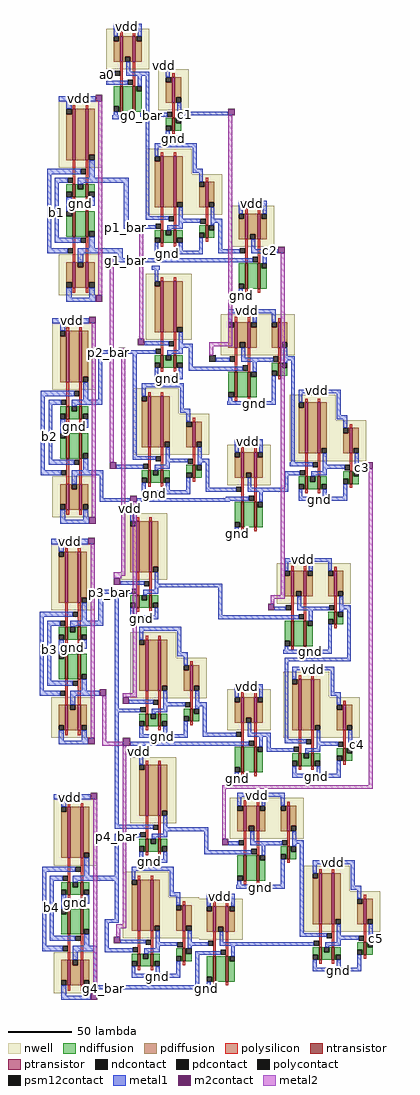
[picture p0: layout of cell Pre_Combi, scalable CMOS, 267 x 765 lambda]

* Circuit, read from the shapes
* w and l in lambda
.subckt Pre_Combi a0 a1 a2 a3 a4 b0 b1 b2 b3 b4 c1 c2 c3 c4 c5 g0_bar g1_bar g2_bar g3_bar g4_bar gnd p1_bar p2_bar p3_bar p4_bar vdd
M1 n1 a3 gnd c1 nfet w=20 l=2
M2 p3_bar b3 gnd c1 nfet w=10 l=2
M3 n2 a2 gnd c1 nfet w=20 l=2
M4 p2_bar b2 gnd c1 nfet w=10 l=2
M5 n3 a4 gnd c1 nfet w=20 l=2
M6 p4_bar b4 gnd c1 nfet w=10 l=2
M7 n4 a1 gnd c1 nfet w=20 l=2
M8 p1_bar b1 gnd c1 nfet w=10 l=2
M9 g3_bar b3 n1 c1 nfet w=20 l=2
M10 gnd a3 p3_bar c1 nfet w=10 l=2
M11 g2_bar b2 n2 c1 nfet w=20 l=2
M12 gnd a2 p2_bar c1 nfet w=10 l=2
M13 g4_bar b4 n3 c1 nfet w=20 l=2
M14 gnd a4 p4_bar c1 nfet w=10 l=2
M15 g1_bar b1 n4 c1 nfet w=20 l=2
M16 gnd a1 p1_bar c1 nfet w=10 l=2
M17 n5 a0 gnd c1 nfet w=20 l=2
M18 g0_bar b0 n5 c1 nfet w=20 l=2
M19 n6 p3_bar gnd c1 nfet w=10 l=2
M20 n7 p4_bar gnd c1 nfet w=10 l=2
M21 n8 p4_bar gnd c1 nfet w=10 l=2
M22 n9 p3_bar gnd c1 nfet w=10 l=2
M23 n10 g1_bar gnd c1 nfet w=10 l=2
M24 gnd p2_bar n6 c1 nfet w=10 l=2
M25 gnd g3_bar n7 c1 nfet w=10 l=2
M26 gnd p3_bar n8 c1 nfet w=10 l=2
M27 gnd g2_bar n9 c1 nfet w=10 l=2
M28 gnd p2_bar n10 c1 nfet w=10 l=2
M29 n11 p2_bar gnd c1 nfet w=10 l=2
M30 n12 p1_bar gnd c1 nfet w=10 l=2
M31 c1 g0_bar gnd c1 nfet w=10 l=2
M32 gnd p1_bar n11 c1 nfet w=10 l=2
M33 gnd g0_bar n12 c1 nfet w=10 l=2
M34 n13 n7 gnd c1 nfet w=10 l=2
M35 n14 n9 gnd c1 nfet w=10 l=2
M36 n15 n10 gnd c1 nfet w=10 l=2
M37 n16 n12 gnd c1 nfet w=10 l=2
M38 n17 n13 gnd c1 nfet w=20 l=2
M39 n18 g4_bar n17 c1 nfet w=20 l=2
M40 n19 c1 gnd c1 nfet w=20 l=2
M41 n20 n14 gnd c1 nfet w=20 l=2
M42 n21 n15 gnd c1 nfet w=20 l=2
M43 n22 c3 gnd c1 nfet w=20 l=2
M44 n23 n16 gnd c1 nfet w=20 l=2
M45 n24 n11 n19 c1 nfet w=20 l=2
M46 n25 g3_bar n20 c1 nfet w=20 l=2
M47 n26 g2_bar n21 c1 nfet w=20 l=2
M48 n27 n8 n22 c1 nfet w=20 l=2
M49 c2 g1_bar n23 c1 nfet w=20 l=2
M50 n28 n24 gnd c1 nfet w=10 l=2
M51 n29 n27 gnd c1 nfet w=10 l=2
M52 n30 c2 gnd c1 nfet w=20 l=2
M53 n31 n25 gnd c1 nfet w=10 l=2
M54 n32 n6 n30 c1 nfet w=20 l=2
M55 n33 n26 gnd c1 nfet w=10 l=2
M56 gnd n34 n31 c1 nfet w=10 l=2
M57 gnd n28 n33 c1 nfet w=10 l=2
M58 n35 n18 gnd c1 nfet w=10 l=2
M59 gnd n29 n35 c1 nfet w=10 l=2
M60 n34 n32 gnd c1 nfet w=10 l=2
M61 c4 n31 gnd c1 nfet w=10 l=2
M62 c3 n33 gnd c1 nfet w=10 l=2
M63 c5 n35 gnd c1 nfet w=10 l=2
M64 g3_bar a3 vdd n36 pfet w=20 l=2
M65 n37 b3 vdd n38 pfet w=40 l=2
M66 g2_bar a2 vdd n39 pfet w=20 l=2
M67 n40 b2 vdd n41 pfet w=40 l=2
M68 g4_bar a4 vdd n42 pfet w=20 l=2
M69 n43 b4 vdd n44 pfet w=40 l=2
M70 g1_bar a1 vdd n45 pfet w=20 l=2
M71 n46 b1 vdd n47 pfet w=40 l=2
M72 vdd b3 g3_bar n36 pfet w=20 l=2
M73 p3_bar a3 n37 n38 pfet w=40 l=2
M74 vdd b2 g2_bar n39 pfet w=20 l=2
M75 p2_bar a2 n40 n41 pfet w=40 l=2
M76 vdd b4 g4_bar n42 pfet w=20 l=2
M77 p4_bar a4 n43 n44 pfet w=40 l=2
M78 vdd b1 g1_bar n45 pfet w=20 l=2
M79 p1_bar a1 n46 n47 pfet w=40 l=2
M80 g0_bar a0 vdd n48 pfet w=20 l=2
M81 vdd b0 g0_bar n48 pfet w=20 l=2
M82 n49 p3_bar vdd n50 pfet w=40 l=2
M83 n51 p4_bar vdd n52 pfet w=40 l=2
M84 n53 p4_bar vdd n54 pfet w=40 l=2
M85 n55 p3_bar vdd n56 pfet w=40 l=2
M86 n57 g1_bar vdd n58 pfet w=40 l=2
M87 n6 p2_bar n49 n50 pfet w=40 l=2
M88 n7 g3_bar n51 n52 pfet w=40 l=2
M89 n8 p3_bar n53 n54 pfet w=40 l=2
M90 n9 g2_bar n55 n56 pfet w=40 l=2
M91 n10 p2_bar n57 n58 pfet w=40 l=2
M92 n59 p2_bar vdd n60 pfet w=40 l=2
M93 n61 p1_bar vdd n62 pfet w=40 l=2
M94 c1 g0_bar vdd n63 pfet w=20 l=2
M95 n11 p1_bar n59 n60 pfet w=40 l=2
M96 n12 g0_bar n61 n62 pfet w=40 l=2
M97 n13 n7 vdd n52 pfet w=20 l=2
M98 n14 n9 vdd n56 pfet w=20 l=2
M99 n15 n10 vdd n58 pfet w=20 l=2
M100 n16 n12 vdd n62 pfet w=20 l=2
M101 n18 n13 vdd n52 pfet w=20 l=2
M102 vdd g4_bar n18 n52 pfet w=20 l=2
M103 n24 c1 vdd n64 pfet w=20 l=2
M104 n25 n14 vdd n65 pfet w=20 l=2
M105 n26 n15 vdd n66 pfet w=20 l=2
M106 n27 c3 vdd n67 pfet w=20 l=2
M107 c2 n16 vdd n68 pfet w=20 l=2
M108 vdd n11 n24 n64 pfet w=20 l=2
M109 vdd g3_bar n25 n65 pfet w=20 l=2
M110 vdd g2_bar n26 n66 pfet w=20 l=2
M111 vdd n8 n27 n67 pfet w=20 l=2
M112 vdd g1_bar c2 n68 pfet w=20 l=2
M113 n28 n24 vdd n64 pfet w=20 l=2
M114 n29 n27 vdd n67 pfet w=20 l=2
M115 n32 c2 vdd n69 pfet w=20 l=2
M116 n70 n25 vdd n71 pfet w=40 l=2
M117 vdd n6 n32 n69 pfet w=20 l=2
M118 n72 n26 vdd n73 pfet w=40 l=2
M119 n31 n34 n70 n71 pfet w=40 l=2
M120 n33 n28 n72 n73 pfet w=40 l=2
M121 n74 n18 vdd n75 pfet w=40 l=2
M122 n35 n29 n74 n75 pfet w=40 l=2
M123 n34 n32 vdd n69 pfet w=20 l=2
M124 c4 n31 vdd n71 pfet w=20 l=2
M125 c3 n33 vdd n73 pfet w=20 l=2
M126 c5 n35 vdd n75 pfet w=20 l=2
.ends

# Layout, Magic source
magic
tech scmos
<< nwell >>
rect 14 721 48 753
rect -23 644 11 696
rect 55 689 79 721
rect 45 639 81 659
rect 45 607 105 639
rect 112 582 146 614
rect -23 544 11 576
rect -28 470 6 522
rect 45 509 81 561
rect 104 497 162 529
rect 35 451 71 471
rect 35 419 95 451
rect 158 446 194 466
rect -28 370 6 402
rect 109 395 143 427
rect 158 414 218 446
rect -29 297 5 349
rect 26 321 62 373
rect 148 302 206 334
rect 33 260 69 280
rect -29 197 5 229
rect 33 228 93 260
rect 109 203 143 235
rect 153 229 189 249
rect 153 197 213 229
rect -27 97 7 149
rect 33 130 69 182
rect 111 118 169 150
rect 27 72 63 92
rect 169 77 205 97
rect 27 71 87 72
rect 27 40 121 71
rect 169 45 229 77
rect 87 39 121 40
rect -27 -3 7 29
<< ntransistor >>
rect 25 688 27 708
rect 35 688 37 708
rect 66 673 68 683
rect -12 621 -10 631
rect -2 621 0 631
rect -12 590 -10 610
rect -2 590 0 610
rect 57 585 59 595
rect 67 585 69 595
rect 92 589 94 599
rect 123 549 125 569
rect 133 549 135 569
rect 57 487 59 497
rect 67 487 69 497
rect -17 447 -15 457
rect -7 447 -5 457
rect -17 416 -15 436
rect -7 416 -5 436
rect 115 464 117 484
rect 125 464 127 484
rect 149 481 151 491
rect 47 397 49 407
rect 57 397 59 407
rect 82 401 84 411
rect 170 392 172 402
rect 180 392 182 402
rect 205 396 207 406
rect 120 362 122 382
rect 130 362 132 382
rect 38 299 40 309
rect 48 299 50 309
rect -18 274 -16 284
rect -8 274 -6 284
rect -18 243 -16 263
rect -8 243 -6 263
rect 159 269 161 289
rect 169 269 171 289
rect 193 286 195 296
rect 45 206 47 216
rect 55 206 57 216
rect 80 210 82 220
rect 120 170 122 190
rect 130 170 132 190
rect 165 175 167 185
rect 175 175 177 185
rect 200 179 202 189
rect 45 108 47 118
rect 55 108 57 118
rect -16 74 -14 84
rect -6 74 -4 84
rect -16 43 -14 63
rect -6 43 -4 63
rect 122 85 124 105
rect 132 85 134 105
rect 156 102 158 112
rect 39 18 41 28
rect 49 18 51 28
rect 74 22 76 32
rect 98 6 100 26
rect 108 6 110 26
rect 181 23 183 33
rect 191 23 193 33
rect 216 27 218 37
<< ptransistor >>
rect 25 727 27 747
rect 35 727 37 747
rect -12 650 -10 690
rect -2 650 0 690
rect 66 695 68 715
rect 57 613 59 653
rect 67 613 69 653
rect 92 613 94 633
rect 123 588 125 608
rect 133 588 135 608
rect -12 550 -10 570
rect -2 550 0 570
rect -17 476 -15 516
rect -7 476 -5 516
rect 57 515 59 555
rect 67 515 69 555
rect 115 503 117 523
rect 125 503 127 523
rect 149 503 151 523
rect 47 425 49 465
rect 57 425 59 465
rect 82 425 84 445
rect 120 401 122 421
rect 130 401 132 421
rect 170 420 172 460
rect 180 420 182 460
rect 205 420 207 440
rect -17 376 -15 396
rect -7 376 -5 396
rect -18 303 -16 343
rect -8 303 -6 343
rect 38 327 40 367
rect 48 327 50 367
rect 159 308 161 328
rect 169 308 171 328
rect 193 308 195 328
rect 45 234 47 274
rect 55 234 57 274
rect 80 234 82 254
rect -18 203 -16 223
rect -8 203 -6 223
rect 120 209 122 229
rect 130 209 132 229
rect 165 203 167 243
rect 175 203 177 243
rect 200 203 202 223
rect -16 103 -14 143
rect -6 103 -4 143
rect 45 136 47 176
rect 55 136 57 176
rect 122 124 124 144
rect 132 124 134 144
rect 156 124 158 144
rect 39 46 41 86
rect 49 46 51 86
rect 74 46 76 66
rect 98 45 100 65
rect 108 45 110 65
rect 181 51 183 91
rect 191 51 193 91
rect 216 51 218 71
rect -16 3 -14 23
rect -6 3 -4 23
<< ndiffusion >>
rect 20 692 25 708
rect 24 688 25 692
rect 27 688 35 708
rect 37 704 38 708
rect 37 688 42 704
rect 61 677 66 683
rect 65 673 66 677
rect 68 679 69 683
rect 68 673 73 679
rect -17 625 -12 631
rect -13 621 -12 625
rect -10 627 -8 631
rect -4 627 -2 631
rect -10 621 -2 627
rect 0 625 5 631
rect 0 621 1 625
rect -13 606 -12 610
rect -17 590 -12 606
rect -10 590 -2 610
rect 0 594 5 610
rect 0 590 1 594
rect 52 589 57 595
rect 56 585 57 589
rect 59 591 61 595
rect 65 591 67 595
rect 59 585 67 591
rect 69 589 74 595
rect 87 593 92 599
rect 91 589 92 593
rect 94 595 95 599
rect 94 589 99 595
rect 69 585 70 589
rect 118 553 123 569
rect 122 549 123 553
rect 125 549 133 569
rect 135 565 136 569
rect 135 549 140 565
rect 52 491 57 497
rect 56 487 57 491
rect 59 493 61 497
rect 65 493 67 497
rect 59 487 67 493
rect 69 491 74 497
rect 69 487 70 491
rect 144 485 149 491
rect 110 468 115 484
rect -22 451 -17 457
rect -18 447 -17 451
rect -15 453 -13 457
rect -9 453 -7 457
rect -15 447 -7 453
rect -5 451 0 457
rect -5 447 -4 451
rect -18 432 -17 436
rect -22 416 -17 432
rect -15 416 -7 436
rect -5 420 0 436
rect 114 464 115 468
rect 117 464 125 484
rect 127 480 128 484
rect 148 481 149 485
rect 151 487 152 491
rect 151 481 156 487
rect 127 464 132 480
rect -5 416 -4 420
rect 42 401 47 407
rect 46 397 47 401
rect 49 403 51 407
rect 55 403 57 407
rect 49 397 57 403
rect 59 401 64 407
rect 77 405 82 411
rect 81 401 82 405
rect 84 407 85 411
rect 84 401 89 407
rect 59 397 60 401
rect 165 396 170 402
rect 169 392 170 396
rect 172 398 174 402
rect 178 398 180 402
rect 172 392 180 398
rect 182 396 187 402
rect 200 400 205 406
rect 204 396 205 400
rect 207 402 208 406
rect 207 396 212 402
rect 182 392 183 396
rect 115 366 120 382
rect 119 362 120 366
rect 122 362 130 382
rect 132 378 133 382
rect 132 362 137 378
rect 33 303 38 309
rect 37 299 38 303
rect 40 305 42 309
rect 46 305 48 309
rect 40 299 48 305
rect 50 303 55 309
rect 50 299 51 303
rect 188 290 193 296
rect -23 278 -18 284
rect -19 274 -18 278
rect -16 280 -14 284
rect -10 280 -8 284
rect -16 274 -8 280
rect -6 278 -1 284
rect -6 274 -5 278
rect -19 259 -18 263
rect -23 243 -18 259
rect -16 243 -8 263
rect -6 247 -1 263
rect -6 243 -5 247
rect 154 273 159 289
rect 158 269 159 273
rect 161 269 169 289
rect 171 285 172 289
rect 192 286 193 290
rect 195 292 196 296
rect 195 286 200 292
rect 171 269 176 285
rect 40 210 45 216
rect 44 206 45 210
rect 47 212 49 216
rect 53 212 55 216
rect 47 206 55 212
rect 57 210 62 216
rect 75 214 80 220
rect 79 210 80 214
rect 82 216 83 220
rect 82 210 87 216
rect 57 206 58 210
rect 115 174 120 190
rect 119 170 120 174
rect 122 170 130 190
rect 132 186 133 190
rect 132 170 137 186
rect 160 179 165 185
rect 164 175 165 179
rect 167 181 169 185
rect 173 181 175 185
rect 167 175 175 181
rect 177 179 182 185
rect 195 183 200 189
rect 199 179 200 183
rect 202 185 203 189
rect 202 179 207 185
rect 177 175 178 179
rect 40 112 45 118
rect 44 108 45 112
rect 47 114 49 118
rect 53 114 55 118
rect 47 108 55 114
rect 57 112 62 118
rect 57 108 58 112
rect 151 106 156 112
rect 117 89 122 105
rect -21 78 -16 84
rect -17 74 -16 78
rect -14 80 -12 84
rect -8 80 -6 84
rect -14 74 -6 80
rect -4 78 1 84
rect -4 74 -3 78
rect -17 59 -16 63
rect -21 43 -16 59
rect -14 43 -6 63
rect -4 47 1 63
rect -4 43 -3 47
rect 121 85 122 89
rect 124 85 132 105
rect 134 101 135 105
rect 155 102 156 106
rect 158 108 159 112
rect 158 102 163 108
rect 134 85 139 101
rect 34 22 39 28
rect 38 18 39 22
rect 41 24 43 28
rect 47 24 49 28
rect 41 18 49 24
rect 51 22 56 28
rect 69 26 74 32
rect 73 22 74 26
rect 76 28 77 32
rect 76 22 81 28
rect 176 27 181 33
rect 51 18 52 22
rect 93 10 98 26
rect 97 6 98 10
rect 100 6 108 26
rect 110 22 111 26
rect 180 23 181 27
rect 183 29 185 33
rect 189 29 191 33
rect 183 23 191 29
rect 193 27 198 33
rect 211 31 216 37
rect 215 27 216 31
rect 218 33 219 37
rect 218 27 223 33
rect 193 23 194 27
rect 110 6 115 22
<< pdiffusion >>
rect 24 743 25 747
rect 20 727 25 743
rect 27 731 35 747
rect 27 727 29 731
rect 33 727 35 731
rect 37 743 38 747
rect 37 727 42 743
rect 65 711 66 715
rect -13 686 -12 690
rect -17 650 -12 686
rect -10 650 -2 690
rect 0 654 5 690
rect 61 695 66 711
rect 68 699 73 715
rect 68 695 69 699
rect 0 650 1 654
rect 56 649 57 653
rect 52 613 57 649
rect 59 613 67 653
rect 69 617 74 653
rect 69 613 70 617
rect 91 629 92 633
rect 87 613 92 629
rect 94 617 99 633
rect 94 613 95 617
rect 122 604 123 608
rect 118 588 123 604
rect 125 592 133 608
rect 125 588 127 592
rect 131 588 133 592
rect 135 604 136 608
rect 135 588 140 604
rect -17 554 -12 570
rect -13 550 -12 554
rect -10 566 -8 570
rect -4 566 -2 570
rect -10 550 -2 566
rect 0 554 5 570
rect 0 550 1 554
rect 56 551 57 555
rect -18 512 -17 516
rect -22 476 -17 512
rect -15 476 -7 516
rect -5 480 0 516
rect 52 515 57 551
rect 59 515 67 555
rect 69 519 74 555
rect 69 515 70 519
rect 114 519 115 523
rect 110 503 115 519
rect 117 507 125 523
rect 117 503 119 507
rect 123 503 125 507
rect 127 519 128 523
rect 127 503 132 519
rect 148 519 149 523
rect 144 503 149 519
rect 151 507 156 523
rect 151 503 152 507
rect -5 476 -4 480
rect 46 461 47 465
rect 42 425 47 461
rect 49 425 57 465
rect 59 429 64 465
rect 169 456 170 460
rect 59 425 60 429
rect 81 441 82 445
rect 77 425 82 441
rect 84 429 89 445
rect 84 425 85 429
rect 119 417 120 421
rect 115 401 120 417
rect 122 405 130 421
rect 122 401 124 405
rect 128 401 130 405
rect 132 417 133 421
rect 165 420 170 456
rect 172 420 180 460
rect 182 424 187 460
rect 182 420 183 424
rect 204 436 205 440
rect 200 420 205 436
rect 207 424 212 440
rect 207 420 208 424
rect 132 401 137 417
rect -22 380 -17 396
rect -18 376 -17 380
rect -15 392 -13 396
rect -9 392 -7 396
rect -15 376 -7 392
rect -5 380 0 396
rect -5 376 -4 380
rect 37 363 38 367
rect -19 339 -18 343
rect -23 303 -18 339
rect -16 303 -8 343
rect -6 307 -1 343
rect 33 327 38 363
rect 40 327 48 367
rect 50 331 55 367
rect 50 327 51 331
rect 158 324 159 328
rect -6 303 -5 307
rect 154 308 159 324
rect 161 312 169 328
rect 161 308 163 312
rect 167 308 169 312
rect 171 324 172 328
rect 171 308 176 324
rect 192 324 193 328
rect 188 308 193 324
rect 195 312 200 328
rect 195 308 196 312
rect 44 270 45 274
rect 40 234 45 270
rect 47 234 55 274
rect 57 238 62 274
rect 57 234 58 238
rect 79 250 80 254
rect 75 234 80 250
rect 82 238 87 254
rect 82 234 83 238
rect 164 239 165 243
rect -23 207 -18 223
rect -19 203 -18 207
rect -16 219 -14 223
rect -10 219 -8 223
rect -16 203 -8 219
rect -6 207 -1 223
rect 119 225 120 229
rect -6 203 -5 207
rect 115 209 120 225
rect 122 213 130 229
rect 122 209 124 213
rect 128 209 130 213
rect 132 225 133 229
rect 132 209 137 225
rect 160 203 165 239
rect 167 203 175 243
rect 177 207 182 243
rect 177 203 178 207
rect 199 219 200 223
rect 195 203 200 219
rect 202 207 207 223
rect 202 203 203 207
rect 44 172 45 176
rect -17 139 -16 143
rect -21 103 -16 139
rect -14 103 -6 143
rect -4 107 1 143
rect 40 136 45 172
rect 47 136 55 176
rect 57 140 62 176
rect 57 136 58 140
rect 121 140 122 144
rect 117 124 122 140
rect 124 128 132 144
rect 124 124 126 128
rect 130 124 132 128
rect 134 140 135 144
rect 134 124 139 140
rect 155 140 156 144
rect 151 124 156 140
rect 158 128 163 144
rect 158 124 159 128
rect -4 103 -3 107
rect 38 82 39 86
rect 34 46 39 82
rect 41 46 49 86
rect 51 50 56 86
rect 180 87 181 91
rect 51 46 52 50
rect 73 62 74 66
rect 69 46 74 62
rect 76 50 81 66
rect 76 46 77 50
rect 97 61 98 65
rect 93 45 98 61
rect 100 49 108 65
rect 100 45 102 49
rect 106 45 108 49
rect 110 61 111 65
rect 110 45 115 61
rect 176 51 181 87
rect 183 51 191 91
rect 193 55 198 91
rect 193 51 194 55
rect 215 67 216 71
rect 211 51 216 67
rect 218 55 223 71
rect 218 51 219 55
rect -21 7 -16 23
rect -17 3 -16 7
rect -14 19 -12 23
rect -8 19 -6 23
rect -14 3 -6 19
rect -4 7 1 23
rect -4 3 -3 7
<< ndcontact >>
rect 20 688 24 692
rect 38 704 42 708
rect 61 673 65 677
rect 69 679 73 683
rect -17 621 -13 625
rect -8 627 -4 631
rect 1 621 5 625
rect -17 606 -13 610
rect 1 590 5 594
rect 52 585 56 589
rect 61 591 65 595
rect 87 589 91 593
rect 95 595 99 599
rect 70 585 74 589
rect 118 549 122 553
rect 136 565 140 569
rect 52 487 56 491
rect 61 493 65 497
rect 70 487 74 491
rect -22 447 -18 451
rect -13 453 -9 457
rect -4 447 0 451
rect -22 432 -18 436
rect 110 464 114 468
rect 128 480 132 484
rect 144 481 148 485
rect 152 487 156 491
rect -4 416 0 420
rect 42 397 46 401
rect 51 403 55 407
rect 77 401 81 405
rect 85 407 89 411
rect 60 397 64 401
rect 165 392 169 396
rect 174 398 178 402
rect 200 396 204 400
rect 208 402 212 406
rect 183 392 187 396
rect 115 362 119 366
rect 133 378 137 382
rect 33 299 37 303
rect 42 305 46 309
rect 51 299 55 303
rect -23 274 -19 278
rect -14 280 -10 284
rect -5 274 -1 278
rect -23 259 -19 263
rect -5 243 -1 247
rect 154 269 158 273
rect 172 285 176 289
rect 188 286 192 290
rect 196 292 200 296
rect 40 206 44 210
rect 49 212 53 216
rect 75 210 79 214
rect 83 216 87 220
rect 58 206 62 210
rect 115 170 119 174
rect 133 186 137 190
rect 160 175 164 179
rect 169 181 173 185
rect 195 179 199 183
rect 203 185 207 189
rect 178 175 182 179
rect 40 108 44 112
rect 49 114 53 118
rect 58 108 62 112
rect -21 74 -17 78
rect -12 80 -8 84
rect -3 74 1 78
rect -21 59 -17 63
rect -3 43 1 47
rect 117 85 121 89
rect 135 101 139 105
rect 151 102 155 106
rect 159 108 163 112
rect 34 18 38 22
rect 43 24 47 28
rect 69 22 73 26
rect 77 28 81 32
rect 52 18 56 22
rect 93 6 97 10
rect 111 22 115 26
rect 176 23 180 27
rect 185 29 189 33
rect 211 27 215 31
rect 219 33 223 37
rect 194 23 198 27
<< pdcontact >>
rect 20 743 24 747
rect 29 727 33 731
rect 38 743 42 747
rect 61 711 65 715
rect -17 686 -13 690
rect 69 695 73 699
rect 1 650 5 654
rect 52 649 56 653
rect 70 613 74 617
rect 87 629 91 633
rect 95 613 99 617
rect 118 604 122 608
rect 127 588 131 592
rect 136 604 140 608
rect -17 550 -13 554
rect -8 566 -4 570
rect 1 550 5 554
rect 52 551 56 555
rect -22 512 -18 516
rect 70 515 74 519
rect 110 519 114 523
rect 119 503 123 507
rect 128 519 132 523
rect 144 519 148 523
rect 152 503 156 507
rect -4 476 0 480
rect 42 461 46 465
rect 165 456 169 460
rect 60 425 64 429
rect 77 441 81 445
rect 85 425 89 429
rect 115 417 119 421
rect 124 401 128 405
rect 133 417 137 421
rect 183 420 187 424
rect 200 436 204 440
rect 208 420 212 424
rect -22 376 -18 380
rect -13 392 -9 396
rect -4 376 0 380
rect 33 363 37 367
rect -23 339 -19 343
rect 51 327 55 331
rect 154 324 158 328
rect -5 303 -1 307
rect 163 308 167 312
rect 172 324 176 328
rect 188 324 192 328
rect 196 308 200 312
rect 40 270 44 274
rect 58 234 62 238
rect 75 250 79 254
rect 83 234 87 238
rect 160 239 164 243
rect -23 203 -19 207
rect -14 219 -10 223
rect 115 225 119 229
rect -5 203 -1 207
rect 124 209 128 213
rect 133 225 137 229
rect 178 203 182 207
rect 195 219 199 223
rect 203 203 207 207
rect 40 172 44 176
rect -21 139 -17 143
rect 58 136 62 140
rect 117 140 121 144
rect 126 124 130 128
rect 135 140 139 144
rect 151 140 155 144
rect 159 124 163 128
rect -3 103 1 107
rect 34 82 38 86
rect 176 87 180 91
rect 52 46 56 50
rect 69 62 73 66
rect 77 46 81 50
rect 93 61 97 65
rect 102 45 106 49
rect 111 61 115 65
rect 194 51 198 55
rect 211 67 215 71
rect 219 51 223 55
rect -21 3 -17 7
rect -12 19 -8 23
rect -3 3 1 7
<< polysilicon >>
rect 25 747 27 751
rect 35 747 37 751
rect 25 708 27 727
rect 35 708 37 727
rect 66 715 68 718
rect -12 690 -10 693
rect -2 690 0 693
rect 25 685 27 688
rect 35 685 37 688
rect 66 683 68 695
rect 66 670 68 673
rect 57 653 59 656
rect 67 653 69 656
rect -12 631 -10 650
rect -2 631 0 650
rect -12 618 -10 621
rect -2 618 0 621
rect 92 633 94 636
rect -12 610 -10 613
rect -2 610 0 613
rect 57 595 59 613
rect 67 595 69 613
rect 92 599 94 613
rect 123 608 125 612
rect 133 608 135 612
rect -12 570 -10 590
rect -2 570 0 590
rect 92 586 94 589
rect 57 582 59 585
rect 67 582 69 585
rect 123 569 125 588
rect 133 569 135 588
rect 57 555 59 558
rect 67 555 69 558
rect -12 546 -10 550
rect -2 546 0 550
rect -17 516 -15 519
rect -7 516 -5 519
rect 123 546 125 549
rect 133 546 135 549
rect 115 523 117 527
rect 125 523 127 527
rect 149 523 151 526
rect 57 497 59 515
rect 67 497 69 515
rect 57 484 59 487
rect 67 484 69 487
rect 115 484 117 503
rect 125 484 127 503
rect 149 491 151 503
rect -17 457 -15 476
rect -7 457 -5 476
rect 47 465 49 468
rect 57 465 59 468
rect -17 444 -15 447
rect -7 444 -5 447
rect -17 436 -15 439
rect -7 436 -5 439
rect 149 478 151 481
rect 115 461 117 464
rect 125 461 127 464
rect 170 460 172 463
rect 180 460 182 463
rect 82 445 84 448
rect -17 396 -15 416
rect -7 396 -5 416
rect 47 407 49 425
rect 57 407 59 425
rect 82 411 84 425
rect 120 421 122 425
rect 130 421 132 425
rect 205 440 207 443
rect 170 402 172 420
rect 180 402 182 420
rect 205 406 207 420
rect 82 398 84 401
rect 47 394 49 397
rect 57 394 59 397
rect 120 382 122 401
rect 130 382 132 401
rect 205 393 207 396
rect 170 389 172 392
rect 180 389 182 392
rect -17 372 -15 376
rect -7 372 -5 376
rect 38 367 40 370
rect 48 367 50 370
rect -18 343 -16 346
rect -8 343 -6 346
rect 120 359 122 362
rect 130 359 132 362
rect 159 328 161 332
rect 169 328 171 332
rect 193 328 195 331
rect 38 309 40 327
rect 48 309 50 327
rect -18 284 -16 303
rect -8 284 -6 303
rect 38 296 40 299
rect 48 296 50 299
rect 159 289 161 308
rect 169 289 171 308
rect 193 296 195 308
rect 45 274 47 277
rect 55 274 57 277
rect -18 271 -16 274
rect -8 271 -6 274
rect -18 263 -16 266
rect -8 263 -6 266
rect -18 223 -16 243
rect -8 223 -6 243
rect 193 283 195 286
rect 159 266 161 269
rect 169 266 171 269
rect 80 254 82 257
rect 165 243 167 246
rect 175 243 177 246
rect 45 216 47 234
rect 55 216 57 234
rect 80 220 82 234
rect 120 229 122 233
rect 130 229 132 233
rect 80 207 82 210
rect 45 203 47 206
rect 55 203 57 206
rect -18 199 -16 203
rect -8 199 -6 203
rect 120 190 122 209
rect 130 190 132 209
rect 200 223 202 226
rect 45 176 47 179
rect 55 176 57 179
rect -16 143 -14 146
rect -6 143 -4 146
rect 165 185 167 203
rect 175 185 177 203
rect 200 189 202 203
rect 200 176 202 179
rect 165 172 167 175
rect 175 172 177 175
rect 120 167 122 170
rect 130 167 132 170
rect 122 144 124 148
rect 132 144 134 148
rect 156 144 158 147
rect 45 118 47 136
rect 55 118 57 136
rect 45 105 47 108
rect 55 105 57 108
rect 122 105 124 124
rect 132 105 134 124
rect 156 112 158 124
rect -16 84 -14 103
rect -6 84 -4 103
rect 39 86 41 89
rect 49 86 51 89
rect -16 71 -14 74
rect -6 71 -4 74
rect -16 63 -14 66
rect -6 63 -4 66
rect 156 99 158 102
rect 181 91 183 94
rect 191 91 193 94
rect 122 82 124 85
rect 132 82 134 85
rect 74 66 76 69
rect 98 65 100 69
rect 108 65 110 69
rect -16 23 -14 43
rect -6 23 -4 43
rect 39 28 41 46
rect 49 28 51 46
rect 74 32 76 46
rect 216 71 218 74
rect 98 26 100 45
rect 108 26 110 45
rect 181 33 183 51
rect 191 33 193 51
rect 216 37 218 51
rect 74 19 76 22
rect 39 15 41 18
rect 49 15 51 18
rect 216 24 218 27
rect 181 20 183 23
rect 191 20 193 23
rect 98 3 100 6
rect 108 3 110 6
rect -16 -1 -14 3
rect -6 -1 -4 3
<< polycontact >>
rect 21 716 25 720
rect 31 709 35 713
rect 62 684 66 688
rect -16 632 -12 636
rect -6 639 -2 643
rect 53 596 57 600
rect 63 602 67 606
rect 88 600 92 604
rect -16 577 -12 581
rect -6 585 -2 589
rect 119 577 123 581
rect 129 570 133 574
rect 53 498 57 502
rect 63 504 67 508
rect 111 492 115 496
rect 121 485 125 489
rect 145 492 149 496
rect -21 458 -17 462
rect -11 465 -7 469
rect -21 403 -17 407
rect -11 411 -7 415
rect 43 408 47 412
rect 53 414 57 418
rect 78 412 82 416
rect 166 403 170 407
rect 176 409 180 413
rect 201 407 205 411
rect 116 390 120 394
rect 126 383 130 387
rect 34 310 38 314
rect 44 316 48 320
rect -22 285 -18 289
rect -12 292 -8 296
rect 155 297 159 301
rect 165 290 169 294
rect 189 297 193 301
rect -22 230 -18 234
rect -12 238 -8 242
rect 41 217 45 221
rect 51 223 55 227
rect 76 221 80 225
rect 116 198 120 202
rect 126 191 130 195
rect 161 186 165 190
rect 171 192 175 196
rect 196 190 200 194
rect 41 119 45 123
rect 51 125 55 129
rect 118 113 122 117
rect 128 106 132 110
rect 152 113 156 117
rect -20 85 -16 89
rect -10 92 -6 96
rect -20 30 -16 34
rect -10 38 -6 42
rect 35 29 39 33
rect 45 35 49 39
rect 70 33 74 37
rect 94 34 98 38
rect 104 27 108 31
rect 177 34 181 38
rect 187 40 191 44
rect 212 38 216 42
<< metal1 >>
rect 20 754 42 757
rect 20 747 23 754
rect 39 747 42 754
rect 14 716 21 719
rect 30 719 33 727
rect 56 722 66 725
rect 30 716 48 719
rect 14 709 31 712
rect 39 708 42 716
rect -23 696 6 700
rect -17 690 -13 696
rect 20 685 23 688
rect 45 687 48 716
rect 61 715 64 722
rect 70 688 73 695
rect 19 682 24 685
rect 41 684 62 687
rect 70 685 110 688
rect -32 639 -6 643
rect -32 581 -29 639
rect 1 636 5 650
rect -26 632 -16 636
rect -8 632 32 636
rect -26 589 -23 632
rect -8 631 -4 632
rect -17 617 -13 621
rect 1 617 5 621
rect -17 614 5 617
rect -17 610 -13 614
rect 28 599 32 632
rect 45 606 48 684
rect 70 683 73 685
rect 61 669 64 673
rect 61 666 71 669
rect 52 660 85 663
rect 52 653 55 660
rect 82 643 85 660
rect 82 640 90 643
rect 87 633 90 640
rect 45 603 63 606
rect 71 604 74 613
rect 96 604 99 613
rect 118 615 140 618
rect 118 608 121 615
rect 137 608 140 615
rect 71 601 88 604
rect 28 596 38 599
rect 43 596 53 599
rect 71 599 74 601
rect 96 601 105 604
rect 96 599 99 601
rect 62 596 74 599
rect 62 595 65 596
rect -26 585 -6 589
rect 1 581 5 590
rect -32 577 -16 581
rect -8 577 27 581
rect -8 570 -4 577
rect 23 573 27 577
rect 52 579 55 585
rect 71 579 74 585
rect 87 579 90 589
rect 52 576 90 579
rect 102 580 105 601
rect 102 577 119 580
rect 128 580 131 588
rect 128 577 149 580
rect 20 570 129 573
rect 137 569 140 577
rect 50 564 56 567
rect 52 555 55 564
rect -17 542 -13 550
rect 1 544 5 550
rect 118 546 121 549
rect 1 542 6 544
rect -17 539 6 542
rect 117 543 122 546
rect 110 530 147 533
rect -28 522 1 526
rect 110 523 113 530
rect 129 523 132 530
rect -22 516 -18 522
rect 144 523 147 530
rect 44 505 63 508
rect 71 506 74 515
rect 71 503 82 506
rect 8 498 24 501
rect 29 498 53 501
rect 71 501 74 503
rect 62 498 74 501
rect -37 465 -11 469
rect -37 407 -34 465
rect -4 462 0 476
rect 8 462 11 498
rect -31 458 -21 462
rect -13 458 11 462
rect -31 415 -28 458
rect -13 457 -9 458
rect -22 443 -18 447
rect -4 443 0 447
rect -22 440 0 443
rect -22 436 -18 440
rect -31 411 -11 415
rect -4 407 0 416
rect 35 418 38 498
rect 62 497 65 498
rect 52 481 55 487
rect 71 481 74 487
rect 79 488 82 503
rect 100 492 111 495
rect 120 495 123 503
rect 153 496 156 503
rect 120 492 145 495
rect 153 493 162 496
rect 79 485 121 488
rect 129 484 132 492
rect 153 491 156 493
rect 52 478 74 481
rect 42 472 75 475
rect 42 465 45 472
rect 72 455 75 472
rect 110 461 113 464
rect 144 461 147 481
rect 109 458 147 461
rect 72 452 80 455
rect 77 445 80 452
rect 35 415 53 418
rect 61 416 64 425
rect 86 416 89 425
rect 115 428 137 431
rect 115 421 118 428
rect 134 421 137 428
rect 61 413 78 416
rect 22 408 43 411
rect 61 411 64 413
rect 86 413 95 416
rect 159 413 162 493
rect 165 467 198 470
rect 165 460 168 467
rect 195 450 198 467
rect 195 447 203 450
rect 200 440 203 447
rect 86 411 89 413
rect 52 408 64 411
rect 52 407 55 408
rect -37 403 -21 407
rect -13 403 12 407
rect -13 396 -9 403
rect 9 385 12 403
rect 42 391 45 397
rect 61 391 64 397
rect 77 391 80 401
rect 42 388 80 391
rect 92 393 95 413
rect 158 410 176 413
rect 184 411 187 420
rect 209 411 212 420
rect 184 408 201 411
rect 92 390 116 393
rect 125 393 128 401
rect 154 403 166 406
rect 184 406 187 408
rect 209 408 218 411
rect 209 406 212 408
rect 175 403 187 406
rect 154 393 157 403
rect 175 402 178 403
rect 125 390 157 393
rect 9 382 33 385
rect 108 385 126 386
rect 38 383 126 385
rect 38 382 111 383
rect 134 382 137 390
rect 165 386 168 392
rect 184 386 187 392
rect 200 386 203 396
rect 165 383 203 386
rect -22 368 -18 376
rect 31 376 37 379
rect -4 370 0 376
rect -4 368 1 370
rect -22 365 1 368
rect 33 367 36 376
rect 115 359 118 362
rect 114 356 119 359
rect -29 349 0 353
rect -23 343 -19 349
rect 154 335 191 338
rect 25 317 44 320
rect 52 318 55 327
rect 154 328 157 335
rect 173 328 176 335
rect 188 328 191 335
rect 52 315 105 318
rect 8 310 34 313
rect 52 313 55 315
rect 43 310 55 313
rect -38 292 -12 296
rect -38 234 -35 292
rect -5 289 -1 303
rect 8 289 12 310
rect -32 285 -22 289
rect -14 285 12 289
rect -32 242 -29 285
rect -14 284 -10 285
rect -23 270 -19 274
rect -5 270 -1 274
rect -23 267 -1 270
rect -23 263 -19 267
rect -32 238 -12 242
rect -5 234 -1 243
rect -38 230 -22 234
rect -14 230 9 234
rect -14 223 -10 230
rect 21 220 24 310
rect 43 309 46 310
rect 33 293 36 299
rect 52 293 55 299
rect 33 290 55 293
rect 102 293 105 315
rect 146 297 155 300
rect 164 300 167 308
rect 197 301 200 308
rect 164 297 189 300
rect 197 298 206 301
rect 102 290 165 293
rect 173 289 176 297
rect 197 296 200 298
rect 40 281 73 284
rect 40 274 43 281
rect 70 264 73 281
rect 154 266 157 269
rect 188 266 191 286
rect 70 261 78 264
rect 153 263 191 266
rect 75 254 78 261
rect 203 260 206 298
rect 154 257 206 260
rect 32 224 51 227
rect 59 225 62 234
rect 84 225 87 234
rect 115 236 137 239
rect 115 229 118 236
rect 134 229 137 236
rect 59 222 76 225
rect 21 217 41 220
rect 59 220 62 222
rect 84 222 93 225
rect 84 220 87 222
rect 50 217 62 220
rect -23 195 -19 203
rect -5 197 -1 203
rect -5 195 0 197
rect -23 192 0 195
rect -27 149 2 153
rect -21 143 -17 149
rect 21 129 24 217
rect 50 216 53 217
rect 40 200 43 206
rect 59 200 62 206
rect 75 200 78 210
rect 40 197 78 200
rect 90 201 93 222
rect 90 198 116 201
rect 125 201 128 209
rect 125 198 143 201
rect 33 191 126 194
rect 134 190 137 198
rect 38 185 44 188
rect 140 189 143 198
rect 154 196 157 257
rect 160 250 193 253
rect 160 243 163 250
rect 190 233 193 250
rect 190 230 198 233
rect 195 223 198 230
rect 154 193 171 196
rect 179 194 182 203
rect 204 194 207 203
rect 179 191 196 194
rect 140 186 161 189
rect 179 189 182 191
rect 204 191 213 194
rect 204 189 207 191
rect 170 186 182 189
rect 170 185 173 186
rect 40 176 43 185
rect 115 167 118 170
rect 160 169 163 175
rect 179 169 182 175
rect 195 169 198 179
rect 114 164 119 167
rect 160 166 198 169
rect 117 151 154 154
rect 117 144 120 151
rect 136 144 139 151
rect 151 144 154 151
rect 21 126 51 129
rect 59 127 62 136
rect 59 124 94 127
rect 21 119 41 122
rect 59 122 62 124
rect 50 119 62 122
rect -36 92 -10 96
rect -36 34 -33 92
rect -3 89 1 103
rect 21 89 24 119
rect 50 118 53 119
rect 40 102 43 108
rect 59 102 62 108
rect 91 109 94 124
rect 110 113 118 116
rect 127 116 130 124
rect 160 117 163 124
rect 127 113 152 116
rect 160 114 169 117
rect 91 106 128 109
rect 136 105 139 113
rect 160 112 163 114
rect 40 99 62 102
rect -30 85 -20 89
rect -12 85 24 89
rect -30 42 -27 85
rect -12 84 -8 85
rect -21 70 -17 74
rect -3 70 1 74
rect -21 67 1 70
rect -21 63 -17 67
rect 21 55 24 85
rect 34 93 67 96
rect 34 86 37 93
rect 64 76 67 93
rect 117 82 120 85
rect 151 82 154 102
rect 116 79 154 82
rect 64 73 72 76
rect 69 66 72 73
rect 93 72 115 75
rect 93 65 96 72
rect 112 65 115 72
rect 13 52 24 55
rect -30 38 -10 42
rect -3 34 1 43
rect -36 30 -20 34
rect -12 30 7 34
rect -12 23 -8 30
rect -21 -5 -17 3
rect -3 -3 1 3
rect 4 3 7 30
rect 13 32 16 52
rect 25 36 45 39
rect 53 37 56 46
rect 78 37 81 46
rect 53 34 70 37
rect 13 29 35 32
rect 53 32 56 34
rect 78 34 94 37
rect 103 37 106 45
rect 166 44 169 114
rect 176 98 209 101
rect 176 91 179 98
rect 206 81 209 98
rect 206 78 214 81
rect 211 71 214 78
rect 166 41 187 44
rect 195 42 198 51
rect 220 42 223 51
rect 195 39 212 42
rect 103 34 177 37
rect 195 37 198 39
rect 220 39 229 42
rect 220 37 223 39
rect 186 34 198 37
rect 78 32 81 34
rect 44 29 56 32
rect 44 28 47 29
rect 84 27 104 30
rect 34 12 37 18
rect 53 12 56 18
rect 69 12 72 22
rect 34 9 72 12
rect 84 3 87 27
rect 112 26 115 34
rect 186 33 189 34
rect 176 17 179 23
rect 195 17 198 23
rect 211 17 214 27
rect 176 14 214 17
rect 93 3 96 6
rect 4 0 87 3
rect 92 0 97 3
rect -3 -5 2 -3
rect -21 -8 2 -5
<< m2contact >>
rect 6 696 11 701
rect 110 685 115 690
rect 38 594 43 599
rect 149 577 154 582
rect 15 568 20 573
rect 6 539 11 544
rect 1 522 6 527
rect 39 505 44 510
rect 24 498 29 503
rect 17 408 22 413
rect 218 408 223 413
rect 33 382 38 387
rect 1 365 6 370
rect 0 349 5 354
rect 20 317 25 322
rect 9 230 14 235
rect 141 297 146 302
rect 27 224 32 229
rect 0 192 5 197
rect 2 149 7 154
rect 27 191 33 197
rect 105 113 110 118
rect 20 36 25 41
rect 2 -8 7 -3
<< psm12contact >>
rect 95 492 100 497
<< metal2 >>
rect 8 544 11 696
rect 3 370 6 522
rect 17 413 20 568
rect 40 510 43 594
rect 110 507 113 685
rect 95 504 113 507
rect 2 197 5 349
rect 26 327 29 498
rect 95 497 98 504
rect 20 324 29 327
rect 20 322 26 324
rect 35 232 38 382
rect 151 309 154 577
rect 143 306 154 309
rect 143 302 146 306
rect 11 194 14 230
rect 27 229 38 232
rect 11 191 27 194
rect 4 -3 7 149
rect 27 51 30 191
rect 220 160 223 408
rect 105 157 223 160
rect 105 118 108 157
rect 22 48 30 51
rect 22 41 25 48
<< labels >>
rlabel metal1 60 724 60 724 4 vdd
rlabel metal1 67 667 67 667 1 gnd
rlabel metal1 76 686 76 686 7 c1
rlabel metal1 62 577 62 577 1 gnd
rlabel metal1 67 661 67 661 5 vdd
rlabel metal1 42 685 42 685 3 g0_bar
rlabel metal1 29 597 29 597 3 p1_bar
rlabel metal1 129 616 129 616 5 vdd
rlabel metal1 120 544 120 544 1 gnd
rlabel metal1 29 571 29 571 3 g1_bar
rlabel metal1 143 579 143 579 7 c2
rlabel metal1 53 566 53 566 5 vdd
rlabel metal1 62 479 62 479 1 gnd
rlabel metal1 16 499 16 499 3 p2_bar
rlabel metal1 52 389 52 389 1 gnd
rlabel metal1 57 473 57 473 5 vdd
rlabel metal1 125 532 125 532 1 vdd
rlabel metal1 130 459 130 459 1 gnd
rlabel metal1 117 357 117 357 1 gnd
rlabel metal1 126 429 126 429 5 vdd
rlabel metal1 180 469 180 469 1 vdd
rlabel metal1 181 384 181 384 1 gnd
rlabel metal1 33 377 33 377 1 vdd
rlabel metal1 42 291 42 291 1 gnd
rlabel metal1 53 282 53 282 1 vdd
rlabel metal1 58 198 58 198 1 gnd
rlabel metal1 125 237 125 237 1 vdd
rlabel metal1 117 165 117 165 1 gnd
rlabel metal1 215 409 215 409 7 c3
rlabel metal1 169 337 169 337 1 vdd
rlabel metal1 174 265 174 265 1 gnd
rlabel metal1 179 167 179 167 1 gnd
rlabel metal1 177 251 177 251 1 vdd
rlabel metal1 211 192 211 192 1 c4
rlabel metal1 42 192 42 192 1 g3_bar
rlabel metal1 40 186 40 186 1 vdd
rlabel metal1 48 100 48 100 1 gnd
rlabel metal1 22 120 22 120 1 p4_bar
rlabel metal1 49 94 49 94 1 vdd
rlabel metal1 54 10 54 10 1 gnd
rlabel metal1 12 1 12 1 1 g4_bar
rlabel metal1 133 152 133 152 1 vdd
rlabel metal1 135 80 135 80 1 gnd
rlabel metal1 93 1 93 1 1 gnd
rlabel metal1 104 73 104 73 1 vdd
rlabel metal1 196 15 196 15 1 gnd
rlabel metal1 192 99 192 99 1 vdd
rlabel metal1 226 40 226 40 7 c5
rlabel metal1 -7 698 -7 698 5 vdd
rlabel metal1 -6 616 -6 616 1 gnd
rlabel metal1 -25 609 -25 609 1 b1
rlabel metal1 -31 609 -31 609 3 a1
rlabel metal1 31 755 31 755 5 vdd
rlabel metal1 21 683 21 683 1 gnd
rlabel metal1 15 717 15 717 1 a0
rlabel metal1 15 710 15 710 1 b0
rlabel metal1 12 383 12 383 1 g2_bar
rlabel metal1 -12 524 -12 524 1 vdd
rlabel metal1 -11 441 -11 441 1 gnd
rlabel metal1 -30 433 -30 433 1 b2
rlabel metal1 -36 433 -36 433 3 a2
rlabel metal1 17 311 17 311 1 p3_bar
rlabel metal1 -14 351 -14 351 1 vdd
rlabel metal1 -12 268 -12 268 1 gnd
rlabel metal1 -30 266 -30 266 1 b3
rlabel metal1 -37 266 -37 266 3 a3
rlabel metal1 -14 150 -14 150 1 vdd
rlabel metal1 -10 68 -10 68 1 gnd
rlabel metal1 -29 64 -29 64 1 b4
rlabel metal1 -35 64 -35 64 3 a4
<< end >>
